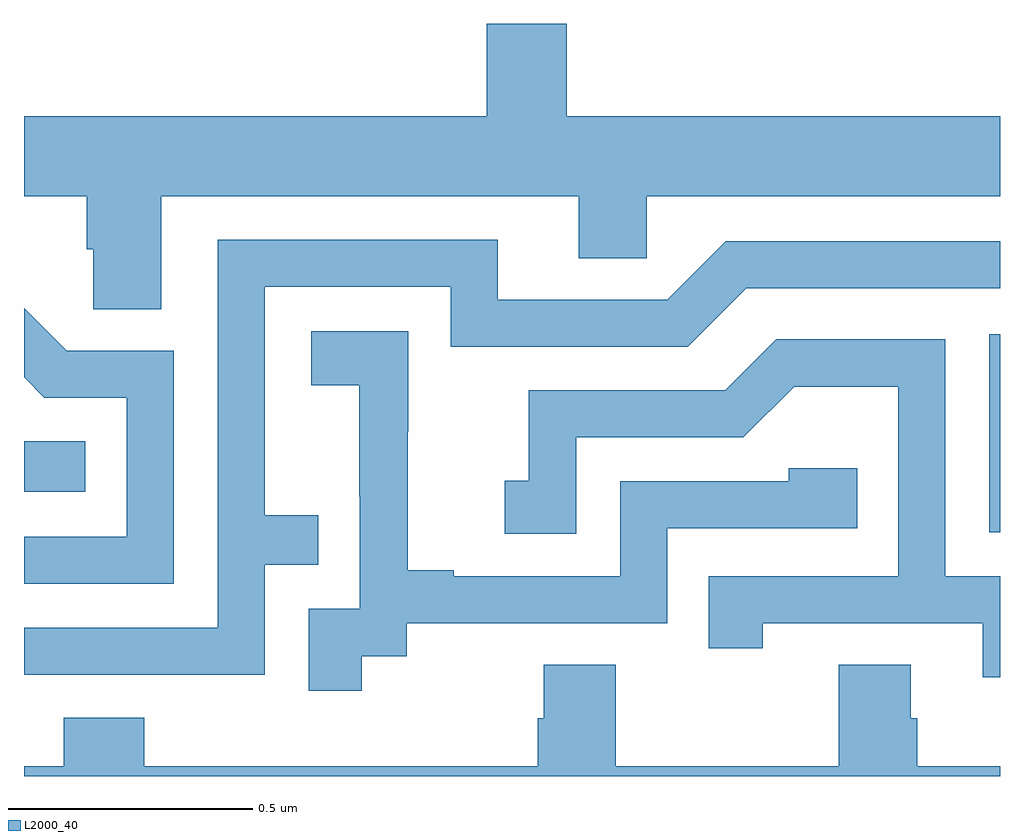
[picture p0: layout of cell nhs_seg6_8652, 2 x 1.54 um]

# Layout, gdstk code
import gdstk
lib = gdstk.Library(unit=1e-6, precision=1e-09)
def R(c, l, rs):  # rectangles x0, y0, x1, y1
    for r in rs: c.add(gdstk.rectangle(r[:2], r[2:], *l))
def P(c, l, *ps):  # polygons
    for p in ps: c.add(gdstk.Polygon(p, *l))
L2000_40 = (2000, 40)

nhs_seg6_8652 = lib.new_cell('nhs_seg6_8652')
R(nhs_seg6_8652, L2000_40, [(225.978,927.999,226,928.405), (224,928.082,224.126,928.186)])
P(nhs_seg6_8652, L2000_40, [(224.281,928.688),(225.137,928.688),(225.137,928.561),(225.276,928.561),(225.276,928.688),(226,928.688),(226,928.852),(225.112,928.852),(225.112,929.041),(224.948,929.041),(224.948,928.852),(224,928.852),(224,928.688),(224.129,928.688),(224.129,928.579),(224.142,928.579),(224.142,928.456),(224.281,928.456)],
  [(224.493,927.933),(224.603,927.933),(224.603,928.034),(224.493,928.034),(224.493,928.503),(224.874,928.503),(224.874,928.38),(225.36,928.38),(225.48,928.5),(226,928.5),(226,928.596),(225.438,928.596),(225.318,928.476),(224.971,928.476),(224.971,928.599),(224.397,928.599),(224.397,927.804),(224,927.804),(224,927.708),(224.493,927.708)],
  [(224.307,928.371),(224.088,928.371),(224,928.459),(224,928.317),(224.042,928.275),(224.211,928.275),(224.211,927.99),(224,927.99),(224,927.894),(224.307,927.894)],
  [(224.692,927.745),(224.784,927.745),(224.784,927.813),(225.318,927.813),(225.318,928.008),(225.707,928.008),(225.707,928.131),(225.567,928.131),(225.567,928.104),(225.222,928.104),(225.222,927.909),(224.881,927.909),(224.881,927.922),(224.786,927.922),(224.786,928.205),(224.787,928.205),(224.787,928.411),(224.589,928.411),(224.589,928.301),(224.687,928.301),(224.687,928.073),(224.688,928.073),(224.688,927.843),(224.583,927.843),(224.583,927.675),(224.692,927.675)],
  [(226,927.909),(225.888,927.909),(225.888,928.395),(225.542,928.395),(225.437,928.29),(225.034,928.29),(225.034,928.105),(224.985,928.105),(224.985,927.996),(225.132,927.996),(225.132,928.194),(225.474,928.194),(225.578,928.298),(225.792,928.298),(225.792,927.909),(225.403,927.909),(225.403,927.762),(225.514,927.762),(225.514,927.813),(225.965,927.813),(225.965,927.702),(226,927.702)],
  [(226,927.52),(225.83,927.52),(225.83,927.618),(225.817,927.618),(225.817,927.728),(225.67,927.728),(225.67,927.52),(225.213,927.52),(225.213,927.728),(225.065,927.728),(225.065,927.618),(225.053,927.618),(225.053,927.52),(224.246,927.52),(224.246,927.619),(224.081,927.619),(224.081,927.52),(224,927.52),(224,927.5),(226,927.5)])

lib.write_gds('nhs_seg6_8652.gds')
